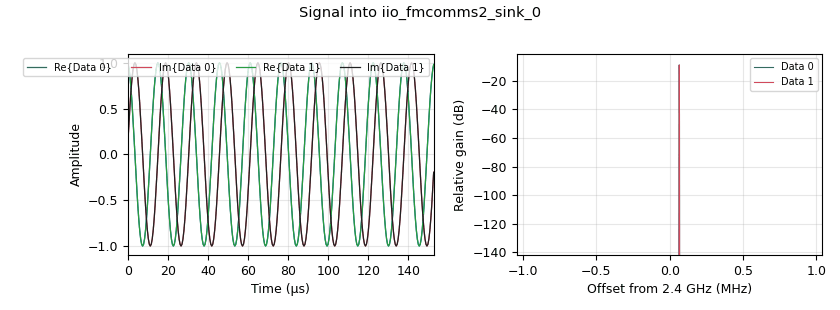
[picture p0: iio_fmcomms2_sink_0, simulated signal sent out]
options:
  parameters:
    generate_options: qt_gui
    id: detector
    output_language: python
    title: detector
  states: {}

blocks:
- name: samp_rate
  id: variable
  parameters:
    value: '32000'
  states: {}
- name: analog_sig_source_x_0
  id: analog_sig_source_x
  parameters:
    amp: '1'
    freq: '1000'
    offset: '0'
    phase: '0'
    samp_rate: samp_rate
    type: complex
    waveform: analog.GR_COS_WAVE
  states: {}
- name: analog_sig_source_x_1
  id: analog_sig_source_x
  parameters:
    amp: '1'
    freq: '1000'
    offset: '0'
    phase: '0'
    samp_rate: samp_rate
    type: complex
    waveform: analog.GR_COS_WAVE
  states: {}
- name: iio_fmcomms2_sink_0
  id: iio_fmcomms2_sink
  parameters:
    auto_filter: 'True'
    bandwidth: '20000000'
    buffer_size: '32768'
    cyclic: 'False'
    frequency: '2400000000'
    rf_port_select: '''A'''
    samplerate: '2084000'
    tx1_en: 'True'
    tx2_en: 'True'
    uri: uri
  states: {}
- name: iio_fmcomms2_source_0
  id: iio_fmcomms2_source
  parameters:
    auto_filter: 'True'
    bandwidth: '20000000'
    bbdc: 'True'
    buffer_size: '32768'
    frequency: '2400000000'
    gain1: '''manual'''
    gain2: '''manual'''
    manual_gain1: '64'
    manual_gain2: '64'
    quadrature: 'True'
    rf_port_select: '''A_BALANCED'''
    rfdc: 'True'
    rx1_en: 'True'
    rx2_en: 'True'
    samplerate: '2084000'
    uri: 'local:'
  states: {}
- name: uri
  id: parameter
  parameters:
    label: URI
    value: '''ip:analog.local'''
  states: {}

connections:
- [analog_sig_source_x_0, '0', iio_fmcomms2_sink_0, '0']
- [analog_sig_source_x_1, '0', iio_fmcomms2_sink_0, '1']

metadata:
  file_format: 1
